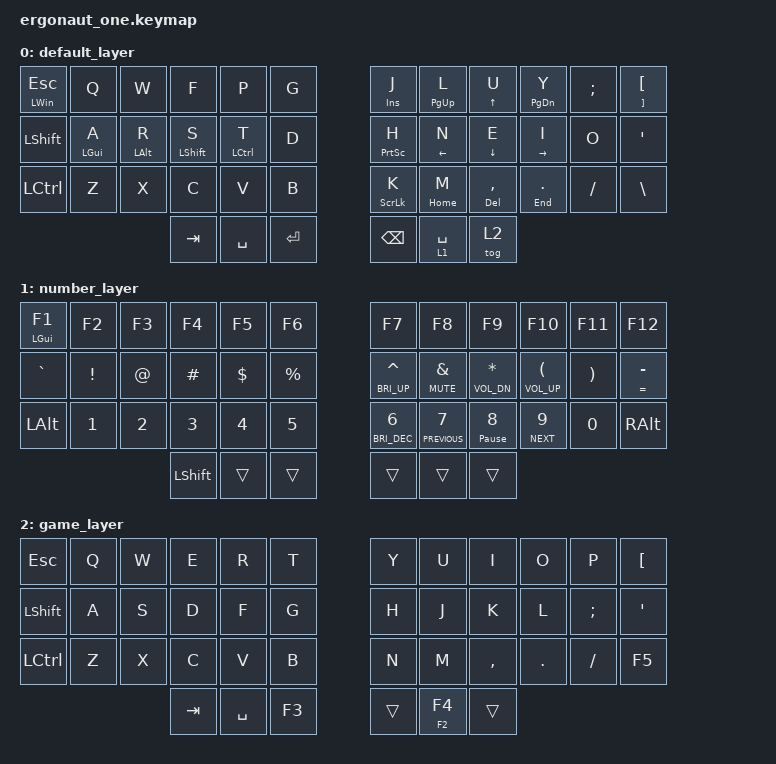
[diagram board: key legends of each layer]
#include <behaviors.dtsi>
#include <dt-bindings/zmk/keys.h>

#define DEF 0
#define LWR 1
#define RSE 2
#define ADJ 3

&lt { quick-tap-ms = <200>; };

&mt { quick-tap-ms = <200>; };

/ {
    conditional_layers { compatible = "zmk,conditional-layers"; };

    combos { compatible = "zmk,combos"; };

    keymap {
        compatible = "zmk,keymap";

        default_layer {
            bindings = <
&mt LEFT_WIN ESC  &kp Q           &kp W           &kp F             &kp P               &kp G      &mt INSERT J       &mt PAGE_UP L     &mt UP_ARROW U    &mt PAGE_DOWN Y    &kp SEMICOLON  &mt RIGHT_BRACKET LEFT_BRACKET
&kp LEFT_SHIFT    &mt LEFT_GUI A  &mt LEFT_ALT R  &mt LEFT_SHIFT S  &mt LEFT_CONTROL T  &kp D      &mt PRINTSCREEN H  &mt LEFT_ARROW N  &mt DOWN_ARROW E  &mt RIGHT_ARROW I  &kp O          &kp SQT
&kp LCTRL         &kp Z           &kp X           &kp C             &kp V               &kp B      &mt SCROLLLOCK K   &mt HOME M        &mt DELETE COMMA  &mt END PERIOD     &kp FSLH       &kp BACKSLASH
                                                  &kp TAB           &kp SPACE           &kp ENTER  &kp BACKSPACE      &lt 1 SPACE       &tog 2
            >;
        };

        number_layer {
            bindings = <
&mt LGUI F1   &kp F2    &kp F3  &kp F4          &kp F5    &kp F6     &kp F7              &kp F8             &kp F9              &kp F10            &kp F11   &kp F12
&kp GRAVE     &kp EXCL  &kp AT  &kp HASH        &kp DLLR  &kp PRCNT  &mt C_BRI_UP CARET  &mt C_MUTE AMPS    &mt C_VOL_DN STAR   &mt C_VOL_UP LPAR  &kp RPAR  &mt EQUAL MINUS
&kp LEFT_ALT  &kp N1    &kp N2  &kp N3          &kp N4    &kp N5     &mt C_BRI_DEC N6    &mt C_PREVIOUS N7  &mt PAUSE_BREAK N8  &mt C_NEXT N9      &kp N0    &kp RALT
                                &kp LEFT_SHIFT  &trans    &trans     &trans              &trans             &trans
            >;
        };

        game_layer {
            bindings = <
&kp ESC         &kp Q  &kp W  &kp E    &kp R      &kp T   &kp Y   &kp U      &kp I      &kp O       &kp P          &kp LEFT_BRACKET
&kp LEFT_SHIFT  &kp A  &kp S  &kp D    &kp F      &kp G   &kp H   &kp J      &kp K      &kp L       &kp SEMICOLON  &kp SQT
&kp LCTRL       &kp Z  &kp X  &kp C    &kp V      &kp B   &kp N   &kp M      &kp COMMA  &kp PERIOD  &kp SLASH      &kp F5
                              &kp TAB  &kp SPACE  &kp F3  &trans  &mt F2 F4  &trans
            >;
        };
    };
};
